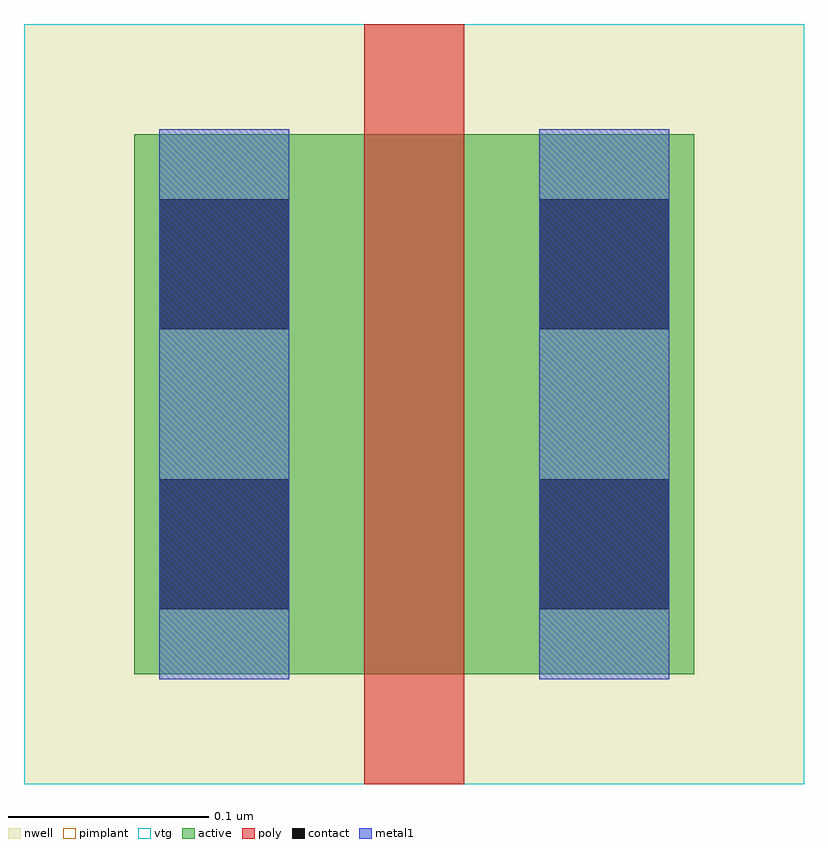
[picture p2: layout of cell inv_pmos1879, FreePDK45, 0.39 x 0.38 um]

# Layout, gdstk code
import gdstk
lib = gdstk.Library(unit=1e-6, precision=5e-10)
def R(c, l, rs):  # rectangles x0, y0, x1, y1
    for r in rs: c.add(gdstk.rectangle(r[:2], r[2:], *l))
active = (1, 0)
nwell = (3, 0)
pimplant = (5, 0)
vtg = (6, 0)
poly = (9, 0)
contact = (10, 0)
metal1 = (11, 0)

contact_1x2_num12656 = lib.new_cell('contact_1x2_num12656')
R(contact_1x2_num12656, active, [(0,0.03,0.09,0.245)])
R(contact_1x2_num12656, contact, [(0.0125,0.035,0.0775,0.1), (0.0125,0.175,0.0775,0.24)])
R(contact_1x2_num12656, metal1, [(0.0125,0,0.0775,0.275)])

contact_1x2_num12657 = lib.new_cell('contact_1x2_num12657')
R(contact_1x2_num12657, active, [(0,0.03,0.09,0.245)])
R(contact_1x2_num12657, contact, [(0.0125,0.035,0.0775,0.1), (0.0125,0.175,0.0775,0.24)])
R(contact_1x2_num12657, metal1, [(0.0125,0,0.0775,0.275)])

inv_pmos1879 = lib.new_cell('inv_pmos1879')
R(inv_pmos1879, active, [(0.055,0.055,0.335,0.325)])
R(inv_pmos1879, nwell, [(0,0,0.39,0.38)])
R(inv_pmos1879, pimplant, [(0.055,0.055,0.335,0.325)])
R(inv_pmos1879, vtg, [(0,0,0.39,0.38)])
R(inv_pmos1879, poly, [(0.17,0,0.22,0.38)])
inv_pmos1879.add(gdstk.Reference(contact_1x2_num12656, (0.055,0.0525)))
inv_pmos1879.add(gdstk.Reference(contact_1x2_num12657, (0.245,0.0525)))

lib.write_gds('inv_pmos1879.gds')
